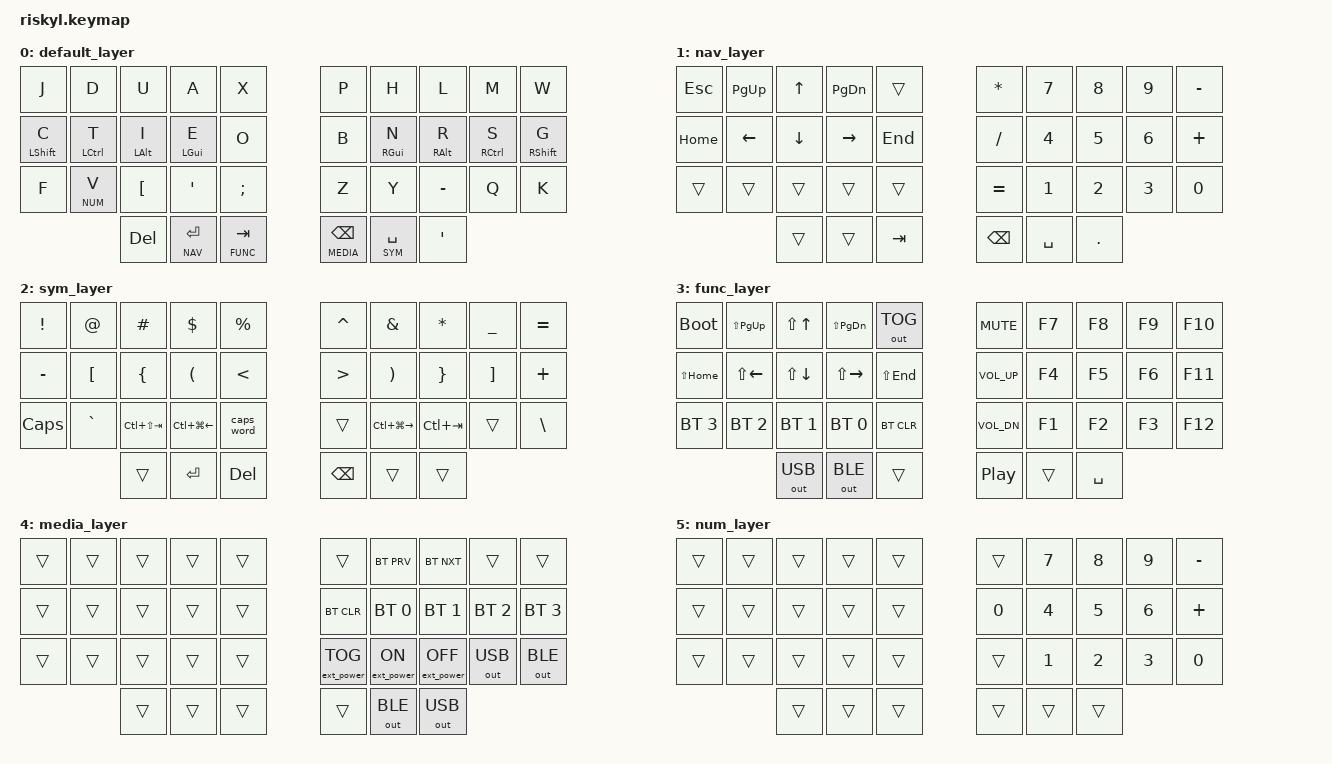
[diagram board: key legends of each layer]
#include <behaviors.dtsi>
#include <dt-bindings/zmk/keys.h>
#include <dt-bindings/zmk/bt.h>
#include <dt-bindings/zmk/ext_power.h>
#include <dt-bindings/zmk/outputs.h>

#define DEFAULT 0
#define NAV     1
#define SYM     2
#define FUNC    3
#define MEDIA   4
#define NUM 5

&caps_word {
    continue-list = <UNDERSCORE MINUS>;
};

/ {
    combos {
        compatible = "zmk,combos";
        combo_esc {
            timeout-ms = <50>;
            key-positions = <11 12>;
            bindings = <&kp ESC>;
        combo_undo {
            timeout-ms = <50>;
            key-positions = <20 21>;
            bindings = <&kp LGUI(Z)>;
        };
    };
};
};

/ {

    behaviors {
        hm: homerow_mods {
            compatible = "zmk,behavior-hold-tap";
            #binding-cells = <2>;
            tapping-term-ms = <200>;
            flavor = "tap-preferred";
            bindings = <&kp>, <&kp>;
        };
        hs: homerow_shift {
            compatible = "zmk,behavior-hold-tap";
            #binding-cells = <2>;
            tapping-term-ms = <175>;
            flavor = "balanced";
            bindings = <&kp>, <&kp>;
        };
    };

    keymap {
        compatible = "zmk,keymap";

        default_layer {
            bindings = <
    &kp J           &kp D       &kp U       &kp A           &kp X               &kp P    &kp H           &kp L         &kp M       &kp W
    &hm LSHIFT C    &hm LCTL T  &hm LALT I  &hs LGUI E      &kp O               &kp B           &hs RGUI N      &hm RALT R    &hm RCTL S  &hm RSHIFT G
    &kp F           &lt NUM V   &kp LBKT    &kp SQT         &kp SEMI            &kp Z           &kp Y           &kp MINUS     &kp Q       &kp K
                                &kp DEL     &lt NAV RET     &lt FUNC TAB        &lt MEDIA BSPC  &lt SYM SPACE   &kp SQT
            >;
        };

        nav_layer {
            bindings = <
    &kp ESC      &kp PG_UP    &kp UP      &kp PG_DN     &trans                                      &kp ASTRK     &kp N7       &kp N8        &kp N9      &kp MINUS
    &kp HOME     &kp LEFT     &kp DOWN    &kp RIGHT     &kp END                                     &kp FSLH      &kp N4       &kp N5        &kp N6      &kp PLUS
    &trans       &trans       &trans      &trans        &trans                                      &kp EQUAL     &kp N1       &kp N2        &kp N3      &kp N0
                                          &trans        &trans       &kp TAB       &kp BSPC         &kp SPACE     &kp DOT
            >;
        };

        sym_layer {
            bindings = <
    &kp EXCL     &kp AT       &kp HASH        &kp DLLR         &kp PRCNT                                   &kp CARET     &kp AMPS          &kp ASTRK     &kp UNDER   &kp EQUAL
    &kp MINUS    &kp LBKT     &kp LBRC        &kp LPAR         &kp LT                                      &kp GT        &kp RPAR          &kp RBRC      &kp RBKT    &kp PLUS
    &kp CAPS     &kp GRAVE    &kp LC(LS(TAB)) &kp LC(LG(LEFT)) &caps_word                                  &trans        &kp LC(LG(RIGHT)) &kp LC(TAB)   &trans      &kp BSLH
                                              &trans           &kp RET       &kp DEL        &kp BSPC       &trans        &trans
            >;
        };

        func_layer {
            bindings = <
    &bootloader  &kp LS(PG_UP) &kp LS(UP)   &kp LS(PG_DN) &out OUT_TOG                                   &kp C_MUTE       &kp F7       &kp F8        &kp F9      &kp F10
    &kp LS(HOME) &kp LS(LEFT)  &kp LS(DOWN) &kp LS(RIGHT) &kp LS(END)                                    &kp K_VOL_UP     &kp F4       &kp F5        &kp F6      &kp F11
    &bt BT_SEL 3 &bt BT_SEL 2  &bt BT_SEL 1 &bt BT_SEL 0  &bt BT_CLR                                     &kp K_VOL_DN     &kp F1       &kp F2        &kp F3      &kp F12
                                            &out OUT_USB  &out OUT_BLE     &trans      &kp C_PLAY_PAUSE  &trans           &kp SPACE
            >;
        };

        media_layer {
            bindings = <
    &trans       &trans       &trans        &trans            &trans                                      &trans             &bt BT_PRV        &bt BT_NXT         &trans         &trans
    &trans       &trans       &trans        &trans            &trans                                      &bt BT_CLR         &bt BT_SEL 0      &bt BT_SEL 1       &bt BT_SEL 2   &bt BT_SEL 3
    &trans       &trans       &trans        &trans            &trans                                      &ext_power EP_TOG  &ext_power EP_ON  &ext_power EP_OFF  &out OUT_USB   &out OUT_BLE
                                            &trans            &trans        &trans         &trans         &out OUT_BLE       &out OUT_USB
            >;
        };
        num_layer {
            bindings = <
    &trans       &trans       &trans       &trans        &trans                                      &trans      &kp N7       &kp N8        &kp N9      &kp MINUS
    &trans       &trans       &trans       &trans        &trans                                      &kp N0      &kp N4       &kp N5        &kp N6      &kp PLUS
    &trans       &trans       &trans       &trans        &trans                                      &trans      &kp N1       &kp N2        &kp N3      &kp N0
                                           &trans        &trans        &trans         &trans         &trans      &trans
            >;
        };
    };
};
